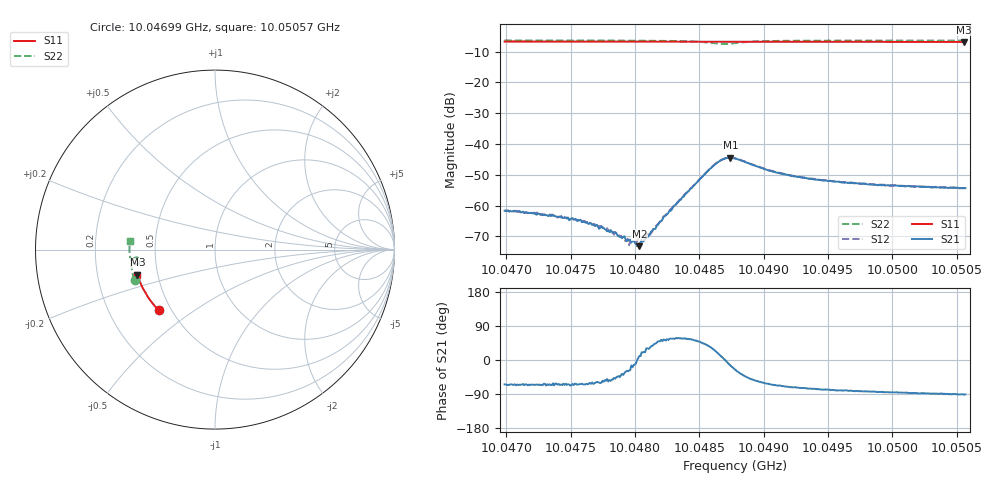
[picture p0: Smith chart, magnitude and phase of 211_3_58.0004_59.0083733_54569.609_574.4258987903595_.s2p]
#  HZ  S  RI  R  50.00
! Rohde & Schwarz Vector Network Analyzer
! Rohde-Schwarz,ZNB20-2Port,1311601062101988,3.16
! Created: UTC 3/21/2024, 12:59:46 AM
! freq[Hz]  re:S11  im:S11  re:S21  im:S21  re:S12  im:S12  re:S22  im:S22
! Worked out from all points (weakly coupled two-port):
!   401 points, 10.04699 GHz to 10.05057 GHz, reference 50 ohm
!   highest |S21| = -44.47 dB at 10.04874 GHz (marker M1); lowest = -73.2 dB at 10.04803 GHz (marker M2)
!   lowest |S11| = -6.9 dB at 10.05056 GHz (marker M3), VSWR 2.66, Z = 19.2 - j6.74 ohm
!   |S11| at or under -10 dB: nowhere
!   |S22| runs from -7.5 to -6.4 dB; largest |S21 - S12| = 0.00041
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1.0046986e10  -0.3118 -0.339  0.000357 -0.000745  0.000409 -0.000736  -0.4484 -0.1697
1.0047371e10  -0.3295 -0.3206  0.000269 -0.000626  0.000341 -0.000598  -0.4561 -0.1444
1.0047586e10  -0.3389 -0.3101  0.000247 -0.000479  0.000302 -0.000471  -0.4601 -0.1294
1.0047765e10  -0.3465 -0.3009  0.000248 -0.000332  0.000269 -0.000337  -0.4627 -0.1168
1.0047819e10  -0.3487 -0.298  0.000234 -0.0003  0.000257 -0.000254  -0.4634 -0.1128
1.0047864e10  -0.3506 -0.2957  0.000235 -0.000225  0.000229 -0.00026  -0.4639 -0.1093
1.0047971e10  -0.3551 -0.2901  0.000249 -6.4e-05  0.00024 -4.36e-05  -0.4649 -0.101
1.0048016e10  -0.3568 -0.2877  0.00022 -1.4e-06  0.000267 3.25e-05  -0.4654 -0.0974
1.0048034e10  -0.3575 -0.2868  0.000216 4.02e-05  0.000234 2.47e-05  -0.4654 -0.0959
1.0048052e10  -0.3582 -0.2857  0.000261 9.85e-05  0.000265 8.6e-05  -0.4657 -0.0944
1.0048123e10  -0.3611 -0.2821  0.000307 0.000221  0.000279 0.000211  -0.4659 -0.0884
1.0048186e10  -0.3635 -0.2788  0.000341 0.000397  0.000295 0.000425  -0.4658 -0.0827
1.0048311e10  -0.3683 -0.2719  0.00057 0.000837  0.000498 0.000862  -0.4643 -0.0704
1.0048589e10  -0.3783 -0.2566  0.00338 0.00221  0.00328 0.0024  -0.4371 -0.0437
1.004867e10  -0.3807 -0.2521  0.00539 0.00095  0.00536 0.00126  -0.4202 -0.0534
1.0048741e10  -0.3831 -0.2482  0.00578 -0.0015  0.0059 -0.00113  -0.4205 -0.0728
1.0048777e10  -0.3844 -0.2464  0.00528 -0.00249  0.00544 -0.00215  -0.4271 -0.0796
1.0049099e10  -0.3953 -0.2282  0.00134 -0.00315  0.00155 -0.00313  -0.4675 -0.0595
1.0049377e10  -0.4039 -0.2119  0.000654 -0.00261  0.000824 -0.00263  -0.474 -0.035
1.0049977e10  -0.4198 -0.1757  0.000165 -0.00211  0.000298 -0.00209  -0.4765 0.00976
1.0050559e10  -0.4322 -0.1395  -3e-05 -0.00192  7.94e-05 -0.00193  -0.4738 0.0498
1.0050568e10  -0.4325 -0.139  -3.06e-05 -0.00192  7.01e-05 -0.00194  -0.4737 0.0504
